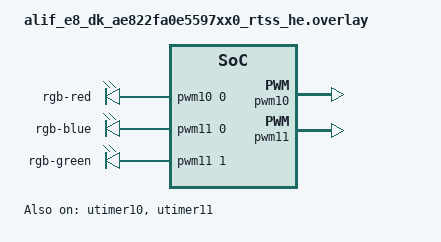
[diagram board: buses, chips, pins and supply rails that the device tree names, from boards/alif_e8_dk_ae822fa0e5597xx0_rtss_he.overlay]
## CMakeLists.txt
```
# SPDX-FileCopyrightText: Copyright 2026 Alp Lab AB
# SPDX-License-Identifier: Apache-2.0
#
# rgb_fade -- fade the E1M-AEN carrier's RGB LED via the Alif UTIMER PWM
# driver, using only the standard Zephyr PWM API.
#
# Unlike the dual-core apps in this repo, this one must be built against
# ALIF'S Zephyr fork (alifsemi/zephyr_alif, fetched by the alifsemi/sdk-alif
# west manifest), because upstream Zephyr has no Alif PWM driver, no UTIMER
# devicetree nodes and no UTIMER clock id. See ../../docs/PWM-RGB-PORT.md.

cmake_minimum_required(VERSION 3.20.0)

find_package(Zephyr REQUIRED HINTS $ENV{ZEPHYR_BASE})
project(rgb_fade LANGUAGES C)

target_sources(app PRIVATE src/main.c)
```

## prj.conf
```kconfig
# SPDX-FileCopyrightText: Copyright 2026 Alp Lab AB
# SPDX-License-Identifier: Apache-2.0
#
# rgb_fade -- plain Zephyr, no Alp Lab SDK on any path.

# The PWM class driver plus the Alif UTIMER backend. CONFIG_PWM_ALIF_UTIMER
# is `default y` once DT_HAS_ALIF_PWM_ENABLED is true (the board overlay
# enables the pwm10/pwm11 children), and it `select`s the hal_alif UTIMER
# register library -- do not set USE_ALIF_HAL_UTIMER here, it is select-only.
CONFIG_PWM=y

# The pwm-leds consumer node the app resolves its handles from. The Zephyr
# led_pwm driver instantiates it; the app does not call the LED API, it only
# needs the node bound so PWM_DT_SPEC_GET can dereference its `pwms` phandle.
CONFIG_LED=y
CONFIG_LED_PWM=y

# Console + logging: the app prints which controller/channel each colour
# resolved to, then one line per completed colour cycle.
CONFIG_SERIAL=y
CONFIG_CONSOLE=y
CONFIG_UART_CONSOLE=y
CONFIG_LOG=y
CONFIG_LOG_MODE_MINIMAL=y
```

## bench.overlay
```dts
/*
 * SPDX-FileCopyrightText: Copyright 2026 Alp Lab AB
 * SPDX-License-Identifier: Apache-2.0
 *
 * Bench overlay for rgb_fade -- RAM-run + routed console.
 *
 * Layer this ON TOP of the board overlay (semicolon-separated in
 * DTC_OVERLAY_FILE; passing it alone REPLACES the auto-picked board overlay
 * and the PWM nodes disappear).
 *
 * Two changes, both bench-specific and neither wanted in a shipped image:
 *
 * 1. Console -> uart5. The E1M-AEN carrier routes UART5 to the accessible
 *    connector; the board default (uart2 on the DevKit) is not reachable
 *    there, so without this the app runs blind.
 *
 * 2. RAM-run out of ITCM instead of MRAM XIP, so the image can be placed
 *    with a J-Link `loadbin` and started without writing MRAM at all --
 *    nothing on the board is overwritten.
 *
 *    Use the PATH-REFERENCE form `&itcm`, not the phandle-array form
 *    `<&itcm>`: the latter parses but yields FLASH_SIZE=0 and the link then
 *    overflows with nowhere to place the image.
 */

/ {
	chosen {
		zephyr,flash = &itcm;
		/delete-property/ zephyr,code-partition;

		zephyr,console   = &uart5;
		zephyr,shell-uart = &uart5;
	};
};

&uart5 {
	status = "okay";
	current-speed = <115200>;
};
```

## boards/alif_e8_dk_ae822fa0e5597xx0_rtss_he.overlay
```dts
/*
 * SPDX-FileCopyrightText: Copyright 2026 Alp Lab AB
 * SPDX-License-Identifier: Apache-2.0
 *
 * RGB LED wiring for the E1M-AEN carrier, driven by the Alif UTIMER in PWM
 * mode.
 *
 * PAD MAP -- the three channels are NON-CONTIGUOUS in the E1M PWM numbering
 * and are split across TWO UTIMER instances. Do not assume PWM0/1/2:
 *
 *   colour | E1M PWM | E1M pad | silicon peripheral | silicon pad
 *   -------+---------+---------+--------------------+------------
 *   green  | PWM0    | A6      | UT11_T1_C          | P12_7
 *   blue   | PWM1    | B6      | UT11_T0_C          | P12_6
 *   red    | PWM3    | B5      | UT10_T0_A          | P2_4
 *
 * So green and blue are channels 1 and 0 of utimer11, and red is channel 0
 * of utimer10 -- both instances must be enabled.
 *
 * UT<n>_T<0|1>_<A|B|C> reads as: UTIMER instance n, driver A (channel 0) or
 * driver B (channel 1), and the pad-variant letter.
 *
 * These are PWM OUTPUT pads, so no input-enable and no bias is configured
 * here -- that is only needed for SENSED pads (I2C SDA/SCL, UART RX,
 * SPI MISO).
 *
 * The `pwm-leds` node below is not decoration: the application resolves its
 * PWM handles from these consumer children rather than from the controller
 * nodes, because DEVICE_DT_GET on an "alif,pwm" controller emits a phantom
 * `pwmN_P_pwms_IDX_0` codegen reference and fails to build. See the
 * top-of-file comment in ../src/main.c.
 */

/*
 * NOTE the header name: Alif's Zephyr fork calls this
 * `ensemble-e4-e6-e8-pinctrl.h`, while upstream Zephyr calls the equivalent
 * `alif-ensemble-pinctrl.h`. The macro names themselves are identical in
 * both. This app builds against the fork (see ../CMakeLists.txt), so it uses
 * the fork's spelling.
 */
#include <zephyr/dt-bindings/pinctrl/ensemble-e4-e6-e8-pinctrl.h>
#include <zephyr/dt-bindings/pwm/pwm.h>

/ {
	rgb_leds: pwm-leds {
		compatible = "pwm-leds";

		rgb_led_red: led_red {
			label = "rgb-red";
			pwms  = <&pwm10 0 PWM_USEC(1000) PWM_POLARITY_NORMAL>;
		};

		rgb_led_blue: led_blue {
			label = "rgb-blue";
			pwms  = <&pwm11 0 PWM_USEC(1000) PWM_POLARITY_NORMAL>;
		};

		rgb_led_green: led_green {
			label = "rgb-green";
			pwms  = <&pwm11 1 PWM_USEC(1000) PWM_POLARITY_NORMAL>;
		};
	};

	aliases {
		rgb-red   = &rgb_led_red;
		rgb-green = &rgb_led_green;
		rgb-blue  = &rgb_led_blue;
	};
};

&pinctrl {
	/* red: UT10_T0_A on P2_4 (E1M PWM3, pad B5) */
	pinctrl_pwm10: pinctrl_pwm10 {
		group0 {
			pinmux = <PIN_P2_4__UT10_T0_A>;
		};
	};

	/* blue: UT11_T0_C on P12_6 (E1M PWM1, pad B6)
	 * green: UT11_T1_C on P12_7 (E1M PWM0, pad A6)
	 * Both belong to utimer11, so they share one pinctrl group. */
	pinctrl_pwm11: pinctrl_pwm11 {
		group0 {
			pinmux = <PIN_P12_6__UT11_T0_C>,
				 <PIN_P12_7__UT11_T1_C>;
		};
	};
};

/*
 * The SoC devicetree declares these PWM children by NAME only -- they carry
 * no labels (`pwm10 { ... }`, not `pwm10: pwm10 { ... }`). A `pwms` phandle
 * needs a label, so we attach one here while enabling each child. Labels are
 * resolved after the whole tree is parsed, so the `pwm-leds` node above may
 * reference them even though it appears earlier in this file.
 */
&utimer10 {
	status = "okay";

	pwm10: pwm10 {
		status        = "okay";
		pinctrl-0     = <&pinctrl_pwm10>;
		pinctrl-names = "default";
	};
};

&utimer11 {
	status = "okay";

	pwm11: pwm11 {
		status        = "okay";
		pinctrl-0     = <&pinctrl_pwm11>;
		pinctrl-names = "default";
	};
};
```

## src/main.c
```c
/*
 * SPDX-FileCopyrightText: Copyright 2026 Alp Lab AB
 * SPDX-License-Identifier: Apache-2.0
 *
 * rgb_fade -- fade the E1M-AEN carrier's RGB LED through a colour cycle
 * using the Alif UTIMER in PWM mode.
 *
 * This is a plain Zephyr application: it calls the standard
 * <zephyr/drivers/pwm.h> API and nothing else. There is no Alp Lab SDK on
 * any path, no <alp/*> header, and no portable-API wrapper -- the three
 * channels are ordinary `struct pwm_dt_spec` handles resolved from
 * devicetree.
 *
 * WHY THE HANDLES COME FROM A pwm-leds CONSUMER NODE, not from the pwm
 * controller nodes directly:
 *
 *   DEVICE_DT_GET(DT_NODELABEL(pwm11)) on an "alif,pwm" controller node
 *   makes gen_defines emit a phantom `pwm11_P_pwms_IDX_0` reference and the
 *   build fails. The cause is that the "alif,pwm" binding re-declares
 *   #pwm-cells, so the controller looks to the codegen pass as though it
 *   carried its own `pwms` phandle.
 *
 *   Resolving through a consumer instead avoids it: the `rgb_leds` node in
 *   the board overlay is a `pwm-leds` node whose children each hold a real
 *   `pwms` phandle, and PWM_DT_SPEC_GET dereferences THAT property (via
 *   DT_PWMS_CTLR_BY_IDX -> DEVICE_DT_GET(DT_PWMS_CTLR...)) to reach the
 *   controller device. Same devices, no phantom.
 *
 * The LED channels are non-contiguous in the E1M PWM numbering and are split
 * across two UTIMER instances -- see the board overlay for the pad map:
 *
 *   green = E1M PWM0 = UT11_T1_C (utimer11 channel 1) on silicon pad P12_7
 *   blue  = E1M PWM1 = UT11_T0_C (utimer11 channel 0) on silicon pad P12_6
 *   red   = E1M PWM3 = UT10_T0_A (utimer10 channel 0) on silicon pad P2_4
 */

#include <zephyr/kernel.h>
#include <zephyr/device.h>
#include <zephyr/drivers/pwm.h>
#include <zephyr/logging/log.h>

LOG_MODULE_REGISTER(rgb_fade, LOG_LEVEL_INF);

/* 1 kHz carrier: fast enough that the eye integrates it, slow enough that
 * the UTIMER's compare resolution still gives a smooth ramp. */
#define PERIOD_NS  1000000U

/* Steps per half-cycle, and how long each step is held. One full triangle
 * (up then down) per channel therefore takes 2 * STEPS * STEP_MS. */
#define STEPS      50U
#define STEP_MS    20U

/* Each channel is phase-shifted by a third of the cycle so the LED walks
 * through the colour wheel instead of fading white in and out together. */
#define PHASE_STEP ((2U * STEPS) / 3U)

struct rgb_channel {
	struct pwm_dt_spec spec;
	const char        *name;
	uint32_t           phase;
};

static struct rgb_channel channels[] = {
	{
		.spec  = PWM_DT_SPEC_GET(DT_NODELABEL(rgb_led_red)),
		.name  = "red",
		.phase = 0U,
	},
	{
		.spec  = PWM_DT_SPEC_GET(DT_NODELABEL(rgb_led_green)),
		.name  = "green",
		.phase = PHASE_STEP,
	},
	{
		.spec  = PWM_DT_SPEC_GET(DT_NODELABEL(rgb_led_blue)),
		.name  = "blue",
		.phase = 2U * PHASE_STEP,
	},
};

/*
 * Triangle wave over a 2*STEPS period: ramps 0 -> STEPS -> 0. Returns the
 * duty as a step count, which the caller scales to nanoseconds.
 */
static uint32_t triangle(uint32_t pos)
{
	pos %= (2U * STEPS);
	return (pos < STEPS) ? pos : ((2U * STEPS) - pos);
}

int main(void)
{
	LOG_INF("=== Alp Lab E1M-AEN RGB fade (Alif UTIMER PWM) ===");
	LOG_INF("period %u ns (%u Hz), %u steps, %u ms per step", PERIOD_NS,
		1000000000U / PERIOD_NS, STEPS, STEP_MS);

	for (size_t i = 0; i < ARRAY_SIZE(channels); i++) {
		const struct rgb_channel *ch = &channels[i];

		if (!pwm_is_ready_dt(&ch->spec)) {
			LOG_ERR("%s: PWM device %s not ready -- is its utimer node "
				"enabled in the board overlay?",
				ch->name, ch->spec.dev ? ch->spec.dev->name : "(null)");
			return -ENODEV;
		}

		LOG_INF("%-5s -> %s channel %u", ch->name, ch->spec.dev->name,
			ch->spec.channel);
	}

	/* Start every channel at 0 % so the LED is dark until the sweep runs,
	 * and so a failure below leaves it off rather than at full brightness. */
	for (size_t i = 0; i < ARRAY_SIZE(channels); i++) {
		int ret = pwm_set_dt(&channels[i].spec, PERIOD_NS, 0U);

		if (ret != 0) {
			LOG_ERR("%s: pwm_set_dt(0%%) failed: %d", channels[i].name, ret);
			return ret;
		}
	}

	LOG_INF("fading -- red/green/blue phase-shifted by a third of a cycle");

	for (uint32_t tick = 0U;; tick++) {
		for (size_t i = 0; i < ARRAY_SIZE(channels); i++) {
			struct rgb_channel *ch    = &channels[i];
			uint32_t            step  = triangle(tick + ch->phase);
			uint32_t            pulse = (PERIOD_NS / STEPS) * step;
			int                 ret   = pwm_set_dt(&ch->spec, PERIOD_NS, pulse);

			if (ret != 0) {
				LOG_ERR("%s: pwm_set_dt(%u ns) failed: %d", ch->name,
					pulse, ret);
				return ret;
			}
		}

		/* One line per full cycle -- enough to see it is alive on the
		 * console without flooding it at 50 Hz. */
		if ((tick % (2U * STEPS)) == 0U) {
			LOG_INF("cycle %u", tick / (2U * STEPS));
		}

		k_msleep(STEP_MS);
	}

	return 0;
}
```
